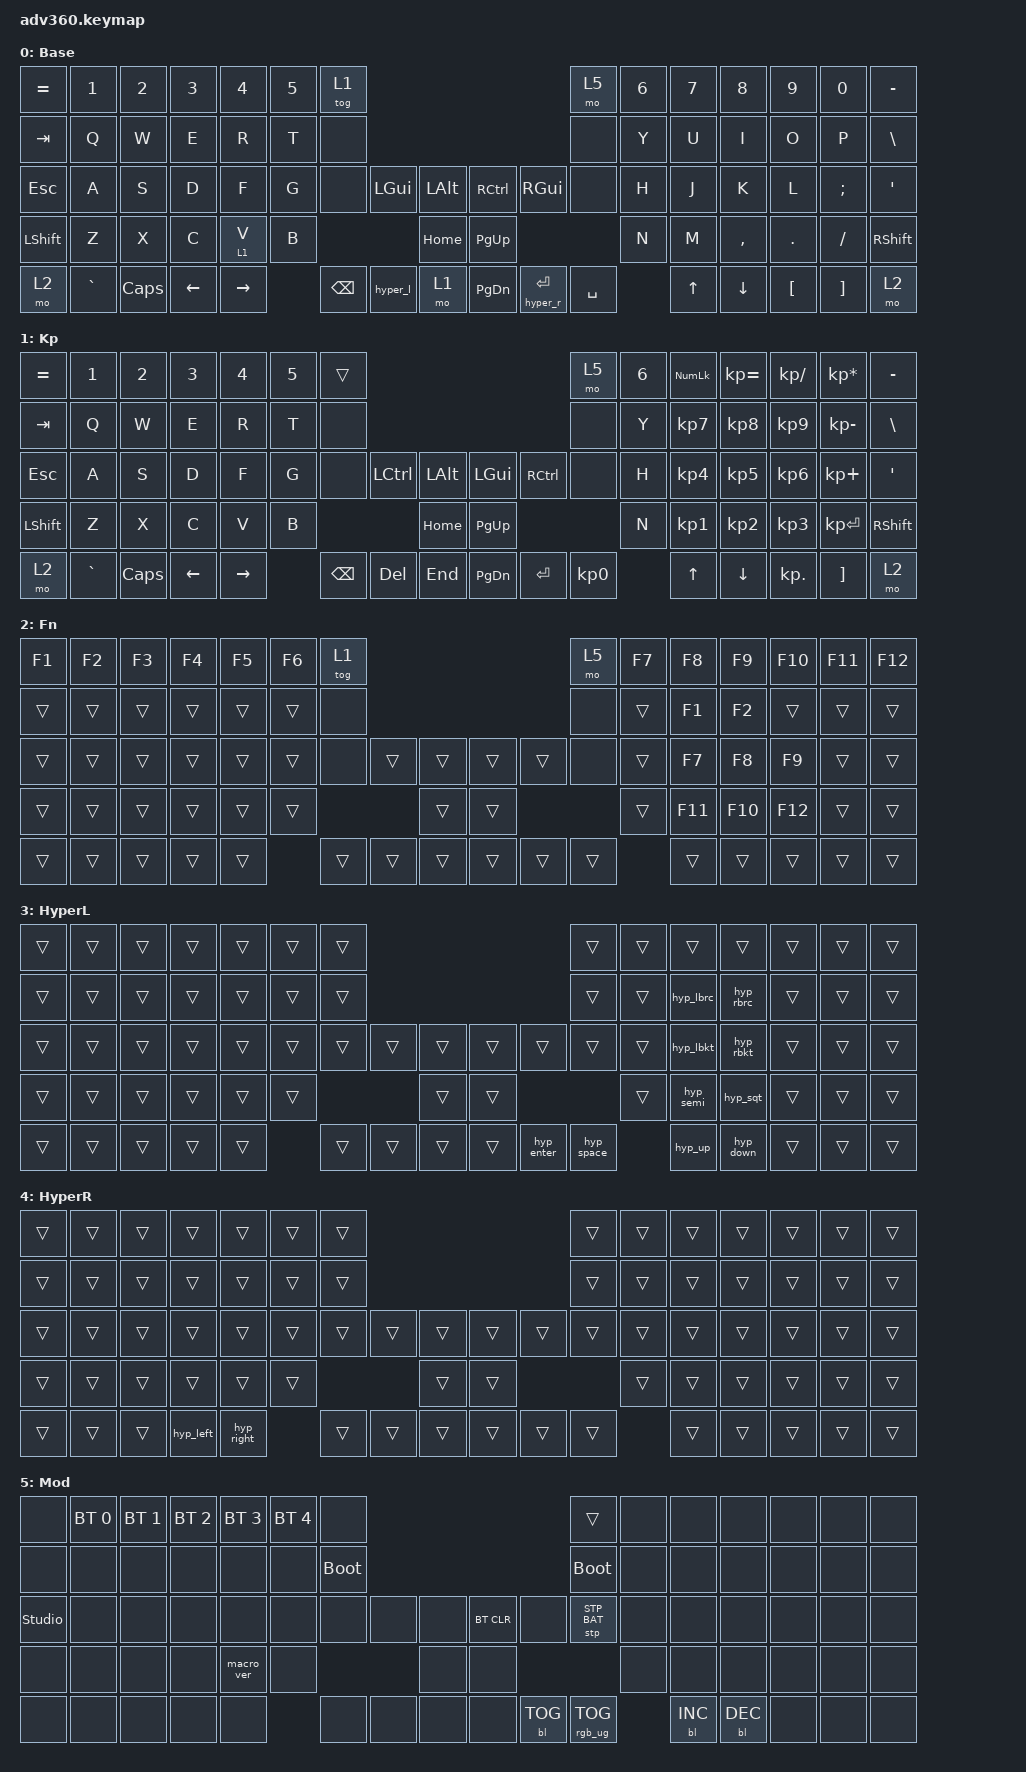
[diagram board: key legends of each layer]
#include <dt-bindings/zmk/stp.h>
#include <behaviors.dtsi>
#include <dt-bindings/zmk/backlight.h>
#include <dt-bindings/zmk/bt.h>
#include <dt-bindings/zmk/keys.h>
#include <dt-bindings/zmk/rgb.h>

/ {
    behaviors {
        #include "macros.dtsi"
      #include "version.dtsi"

        hm: homerow_mods {
            compatible = "zmk,behavior-hold-tap";
            label = "HOMEROW_MODS";
            #binding-cells = <2>;
            tapping-term-ms = <200>;
            quick_tap_ms = <175>;
            flavor = "tap-preferred";
            bindings = <&kp>, <&kp>;
        };

        hold_tap_repeat: hold_tap_repeat {
            compatible = "zmk,behavior-hold-tap";
            label = "HOLD_TAP_REPEAT";
            bindings = <&kp>, <&kp>;

            #binding-cells = <2>;
            tapping-term-ms = <200>;
            quick-tap-ms = <400>;
            flavor = "tap-preferred";
        };

        hyper_r_tap: hyper_r_tap {
            compatible = "zmk,behavior-hold-tap";
            label = "HYPER_R_TAP";
            bindings = <&hyper_r>, <&kp>;

            #binding-cells = <2>;
            tapping-term-ms = <200>;
            quick-tap-ms = <400>;
            require-prior-idle-ms = <150>;
            flavor = "hold-preferred";
        };

        hyper_l: hyper_l {
            compatible = "zmk,behavior-macro";
            #binding-cells = <0>;
            wait-ms = <0>;
            bindings =
                <&macro_press>,
                <&mo 3 &kp LSHFT &kp LCTRL &kp LALT &kp LGUI>,
                <&macro_pause_for_release>,
                <&macro_release>,
                <&mo 3 &kp LSHFT &kp LCTRL &kp LALT &kp LGUI>;
        };

        hyper_r: hyper_r {
            compatible = "zmk,behavior-macro";
            #binding-cells = <0>;
            wait-ms = <0>;
            bindings =
                <&macro_press>,
                <&mo 4 &kp RSHFT &kp RCTRL &kp RALT &kp RGUI>,
                <&macro_pause_for_release>,
                <&macro_release>,
                <&mo 4 &kp RSHFT &kp RCTRL &kp RALT &kp RGUI>;
        };

        // Re-press LGUI so the masked mods reach the host in their own report before the key
        hyp_kp_l: hyp_kp_l {
            compatible = "zmk,behavior-macro-one-param";
            #binding-cells = <1>;
            wait-ms = <10>;
            bindings
                = <&macro_press &kp LGUI>
                , <&macro_param_1to1 &macro_press &kp MACRO_PLACEHOLDER>
                , <&macro_pause_for_release>
                , <&macro_param_1to1 &macro_release &kp MACRO_PLACEHOLDER>
                , <&macro_release &kp LGUI>
                ;
        };

        // Re-press RGUI so the masked mods reach the host in their own report before the key
        hyp_kp_r: hyp_kp_r {
            compatible = "zmk,behavior-macro-one-param";
            #binding-cells = <1>;
            wait-ms = <10>;
            bindings
                = <&macro_press &kp RGUI>
                , <&macro_param_1to1 &macro_press &kp MACRO_PLACEHOLDER>
                , <&macro_pause_for_release>
                , <&macro_param_1to1 &macro_release &kp MACRO_PLACEHOLDER>
                , <&macro_release &kp RGUI>
                ;
        };

        hyp_up: hyp_up {
            compatible = "zmk,behavior-mod-morph";
            #binding-cells = <0>;
            bindings = <&kp UP>, <&hyp_kp_l UP>;

            mods = <(MOD_LSFT|MOD_LCTL|MOD_LALT)>;
        };

        hyp_down: hyp_down {
            compatible = "zmk,behavior-mod-morph";
            #binding-cells = <0>;
            bindings = <&kp DOWN>, <&hyp_kp_l DOWN>;

            mods = <(MOD_LSFT|MOD_LCTL|MOD_LALT)>;
        };

        hyp_left: hyp_left {
            compatible = "zmk,behavior-mod-morph";
            #binding-cells = <0>;
            bindings = <&kp LEFT>, <&hyp_kp_r LEFT>;

            mods = <(MOD_RSFT|MOD_RCTL|MOD_RALT)>;
        };

        hyp_right: hyp_right {
            compatible = "zmk,behavior-mod-morph";
            #binding-cells = <0>;
            bindings = <&kp RIGHT>, <&hyp_kp_r RIGHT>;

            mods = <(MOD_RSFT|MOD_RCTL|MOD_RALT)>;
        };

        hyp_space: hyp_space {
            compatible = "zmk,behavior-mod-morph";
            #binding-cells = <0>;
            bindings = <&kp TAB>, <&hyp_kp_l TAB>;

            mods = <(MOD_LSFT|MOD_LCTL|MOD_LALT)>;
        };

        hyp_enter: hyp_enter {
            compatible = "zmk,behavior-mod-morph";
            #binding-cells = <0>;
            bindings = <&kp LS(TAB)>, <&hyp_kp_l LS(TAB)>;

            mods = <(MOD_LSFT|MOD_LCTL|MOD_LALT)>;
        };

        hyp_lbkt: hyp_lbkt {
            compatible = "zmk,behavior-mod-morph";
            #binding-cells = <0>;
            bindings = <&kp LBKT>, <&hyp_kp_l LBKT>;

            mods = <(MOD_LSFT|MOD_LCTL|MOD_LALT)>;
        };

        hyp_rbkt: hyp_rbkt {
            compatible = "zmk,behavior-mod-morph";
            #binding-cells = <0>;
            bindings = <&kp RBKT>, <&hyp_kp_l RBKT>;

            mods = <(MOD_LSFT|MOD_LCTL|MOD_LALT)>;
        };

        hyp_lbrc: hyp_lbrc {
            compatible = "zmk,behavior-mod-morph";
            #binding-cells = <0>;
            bindings = <&kp LS(LBKT)>, <&hyp_kp_l LS(LBKT)>;

            mods = <(MOD_LSFT|MOD_LCTL|MOD_LALT)>;
        };

        hyp_rbrc: hyp_rbrc {
            compatible = "zmk,behavior-mod-morph";
            #binding-cells = <0>;
            bindings = <&kp LS(RBKT)>, <&hyp_kp_l LS(RBKT)>;

            mods = <(MOD_LSFT|MOD_LCTL|MOD_LALT)>;
        };

        hyp_semi: hyp_semi {
            compatible = "zmk,behavior-mod-morph";
            #binding-cells = <0>;
            bindings = <&kp SEMI>, <&hyp_kp_l SEMI>;

            mods = <(MOD_LSFT|MOD_LCTL|MOD_LALT)>;
        };

        hyp_sqt: hyp_sqt {
            compatible = "zmk,behavior-mod-morph";
            #binding-cells = <0>;
            bindings = <&kp SQT>, <&hyp_kp_l SQT>;

            mods = <(MOD_LSFT|MOD_LCTL|MOD_LALT)>;
        };
    };

    macros {
    };

    keymap {
        compatible = "zmk,keymap";

        default_layer {
            display-name = "Base";
            bindings = <
&kp EQUAL  &kp N1     &kp N2    &kp N3    &kp N4     &kp N5  &tog 1                                                               &mo 5      &kp N6  &kp N7  &kp N8     &kp N9    &kp N0    &kp MINUS
&kp TAB    &kp Q      &kp W     &kp E     &kp R      &kp T   &none                                                                &none      &kp Y   &kp U   &kp I      &kp O     &kp P     &kp BSLH
&kp ESC    &kp A      &kp S     &kp D     &kp F      &kp G   &none     &kp LGUI  &kp LALT      &kp RCTRL      &kp RGUI            &none      &kp H   &kp J   &kp K      &kp L     &kp SEMI  &kp SQT
&kp LSHFT  &kp Z      &kp X     &kp C     &lt 1 V    &kp B                       &kp HOME      &kp PG_UP                                     &kp N   &kp M   &kp COMMA  &kp DOT   &kp FSLH  &kp RSHFT
&mo 2      &kp GRAVE  &kp CAPS  &kp LEFT  &kp RIGHT          &kp BSPC  &hyper_l  &mo 1         &kp PAGE_DOWN  &hyper_r_tap 0 RET  &kp SPACE          &kp UP  &kp DOWN   &kp LBKT  &kp RBKT  &mo 2
            >;
        };

        keypad {
            display-name = "Kp";
            bindings = <
&kp EQUAL  &kp N1     &kp N2    &kp N3    &kp N4     &kp N5  &trans                                                   &mo 5      &kp N6  &kp KP_NUM  &kp KP_EQUAL  &kp KP_DIVIDE  &kp KP_MULTIPLY  &kp MINUS
&kp TAB    &kp Q      &kp W     &kp E     &kp R      &kp T   &none                                                    &none      &kp Y   &kp KP_N7   &kp KP_N8     &kp KP_N9      &kp KP_MINUS     &kp BSLH
&kp ESC    &kp A      &kp S     &kp D     &kp F      &kp G   &none     &kp LCTRL  &kp LALT      &kp LGUI   &kp RCTRL  &none      &kp H   &kp KP_N4   &kp KP_N5     &kp KP_N6      &kp KP_PLUS      &kp SQT
&kp LSHFT  &kp Z      &kp X     &kp C     &kp V      &kp B                        &kp HOME      &kp PG_UP                        &kp N   &kp KP_N1   &kp KP_N2     &kp KP_N3      &kp KP_ENTER     &kp RSHFT
&mo 2      &kp GRAVE  &kp CAPS  &kp LEFT  &kp RIGHT          &kp BSPC  &kp DEL    &kp END       &kp PG_DN  &kp ENTER  &kp KP_N0          &kp UP      &kp DOWN      &kp KP_DOT     &kp RBKT         &mo 2
            >;
        };

        fn {
            display-name = "Fn";
            bindings = <
&kp F1  &kp F2  &kp F3  &kp F4  &kp F5  &kp F6  &tog 1                                      &mo 5   &kp F7  &kp F8   &kp F9   &kp F10  &kp F11  &kp F12
&trans  &trans  &trans  &trans  &trans  &trans  &none                                       &none   &trans  &kp F1   &kp F2   &trans   &trans   &trans
&trans  &trans  &trans  &trans  &trans  &trans  &none   &trans  &trans      &trans  &trans  &none   &trans  &kp F7   &kp F8   &kp F9   &trans   &trans
&trans  &trans  &trans  &trans  &trans  &trans                  &trans      &trans                  &trans  &kp F11  &kp F10  &kp F12  &trans   &trans
&trans  &trans  &trans  &trans  &trans          &trans  &trans  &trans      &trans  &trans  &trans          &trans   &trans   &trans   &trans   &trans
            >;
        };

        HYPER_L {
            display-name = "HyperL";
            bindings = <
&trans  &trans  &trans  &trans  &trans  &trans  &trans                                          &trans      &trans  &trans     &trans     &trans  &trans  &trans
&trans  &trans  &trans  &trans  &trans  &trans  &trans                                          &trans      &trans  &hyp_lbrc  &hyp_rbrc  &trans  &trans  &trans
&trans  &trans  &trans  &trans  &trans  &trans  &trans  &trans  &trans      &trans  &trans      &trans      &trans  &hyp_lbkt  &hyp_rbkt  &trans  &trans  &trans
&trans  &trans  &trans  &trans  &trans  &trans                  &trans      &trans                          &trans  &hyp_semi  &hyp_sqt   &trans  &trans  &trans
&trans  &trans  &trans  &trans  &trans          &trans  &trans  &trans      &trans  &hyp_enter  &hyp_space          &hyp_up    &hyp_down  &trans  &trans  &trans
            >;
        };

        HYPER_R {
            display-name = "HyperR";
            bindings = <
&trans  &trans  &trans  &trans     &trans      &trans  &trans                                      &trans  &trans  &trans  &trans  &trans  &trans  &trans
&trans  &trans  &trans  &trans     &trans      &trans  &trans                                      &trans  &trans  &trans  &trans  &trans  &trans  &trans
&trans  &trans  &trans  &trans     &trans      &trans  &trans  &trans  &trans      &trans  &trans  &trans  &trans  &trans  &trans  &trans  &trans  &trans
&trans  &trans  &trans  &trans     &trans      &trans                  &trans      &trans                  &trans  &trans  &trans  &trans  &trans  &trans
&trans  &trans  &trans  &hyp_left  &hyp_right          &trans  &trans  &trans      &trans  &trans  &trans          &trans  &trans  &trans  &trans  &trans
            >;
        };

        mod {
            display-name = "Mod";
            bindings = <
&none           &bt BT_SEL 0  &bt BT_SEL 1  &bt BT_SEL 2  &bt BT_SEL 3  &bt BT_SEL 4  &none                                                  &trans           &none  &none       &none       &none  &none  &none
&none           &none         &none         &none         &none         &none         &bootloader                                            &bootloader      &none  &none       &none       &none  &none  &none
&studio_unlock  &none         &none         &none         &none         &none         &none        &none  &none      &bt BT_CLR  &none       &stp STP_BAT     &none  &none       &none       &none  &none  &none
&none           &none         &none         &none         &macro_ver    &none                             &none      &none                                    &none  &none       &none       &none  &none  &none
&none           &none         &none         &none         &none                       &none        &none  &none      &none       &bl BL_TOG  &rgb_ug RGB_TOG         &bl BL_INC  &bl BL_DEC  &none  &none  &none
            >;
        };

        extra2 {
            display-name = "Purple";
            status = "reserved";
        };

        extra3 {
            display-name = "Cyan";
            status = "reserved";
        };

        extra4 {
            display-name = "Yellow";
            status = "reserved";
        };
    };
};
